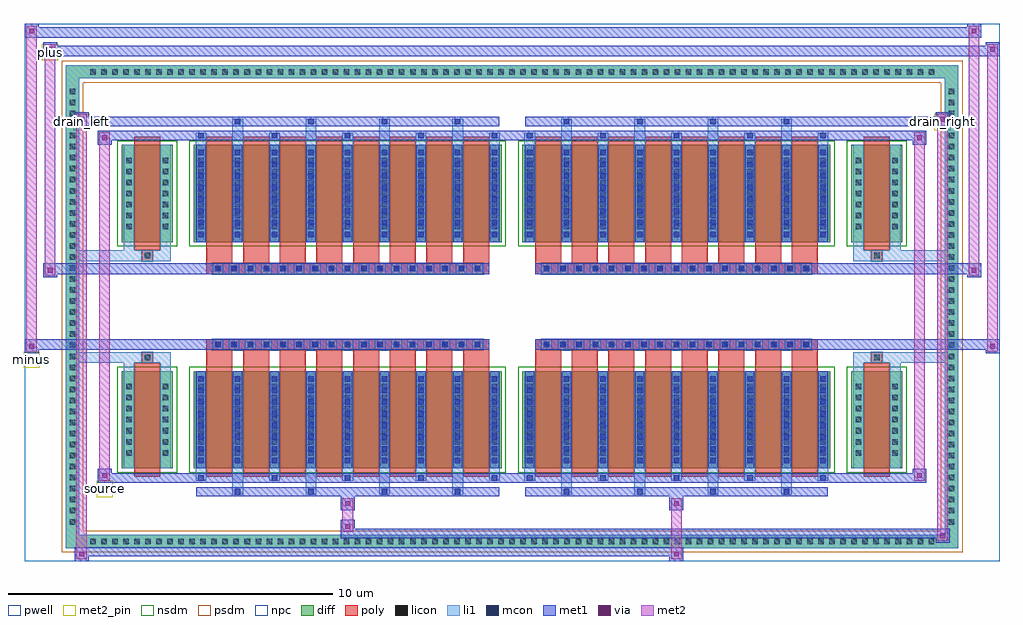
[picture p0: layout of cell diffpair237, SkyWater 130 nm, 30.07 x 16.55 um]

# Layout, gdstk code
import gdstk
lib = gdstk.Library(unit=1e-6, precision=5e-09)
def R(c, l, rs):  # rectangles x0, y0, x1, y1
    for r in rs: c.add(gdstk.rectangle(r[:2], r[2:], *l))
def A(c, l, x, y, w, h, nx, ny, dx, dy):  # array of equal rectangles
    R(c, l, [(x+i*dx, y+j*dy, x+i*dx+w, y+j*dy+h) for i in range(nx) for j in range(ny)])
def P(c, l, *ps):  # polygons
    for p in ps: c.add(gdstk.Polygon(p, *l))
pwell = (64, 44)
diff = (65, 20)
poly = (66, 20)
licon = (66, 44)
li1 = (67, 20)
mcon = (67, 44)
met1 = (68, 20)
via = (68, 44)
met2_pin = (69, 16)
met2 = (69, 20)
nsdm = (93, 44)
psdm = (94, 20)
npc = (95, 20)

diffpair237 = lib.new_cell('diffpair237')
R(diffpair237, pwell, [(-15.02,-7.84,15.02,8.71), (-12.34,-6.03,-0.01,-0.805), (0.01,-6.03,12.34,-0.805), (-12.34,0.805,-0.01,6.03), (0.01,0.805,12.34,6.03)])
A(diffpair237, diff, -13.125, -7.44, 0.41, 0.41, 77, 2, 0.34, 14.47)
A(diffpair237, diff, -13.75, -6.835, 0.41, 0.41, 1, 40, 0, 0.34)
A(diffpair237, diff, 13.34, -6.835, 0.41, 0.41, 1, 40, 0, 0.34)
R(diffpair237, diff, [(-13.125,-7.44,13.125,-7.03), (-13.75,-6.835,-13.34,6.835), (13.34,-6.835,13.75,6.835), (-12.03,-4.985,-10.45,-1.985), (-9.81,-4.985,-0.32,-1.985), (0.32,-4.985,9.81,-1.985), (10.45,-4.985,12.03,-1.985), (-12.03,1.985,-10.45,4.985), (-9.81,1.985,-0.32,4.985), (0.32,1.985,9.81,4.985), (10.45,1.985,12.03,4.985), (-13.125,7.03,13.125,7.44)])
P(diffpair237, diff, [(13.75,7.44),(-13.75,7.44),(-13.75,-7.03),(-13.34,-7.03),(-13.34,7.03),(13.34,7.03),(13.34,-7.03),(-13.34,-7.03),(-13.75,-7.03),(-13.75,-7.44),(13.75,-7.44)])
A(diffpair237, poly, -9.42, -5.235, 0.8, 3.5, 8, 2, 1.13, 6.97)
A(diffpair237, poly, 0.71, -5.235, 0.8, 3.5, 8, 2, 1.13, 6.97)
A(diffpair237, poly, -9.42, -1.735, 0.8, 0.4, 8, 2, 1.13, 3.07)
A(diffpair237, poly, 0.71, -1.735, 0.8, 0.4, 8, 2, 1.13, 3.07)
A(diffpair237, poly, -9.23, -1.335, 0.33, 0.33, 17, 2, 0.5, 2.34)
A(diffpair237, poly, 0.9, -1.335, 0.33, 0.33, 17, 2, 0.5, 2.34)
R(diffpair237, poly, [(-11.64,-5.235,-10.84,-1.735), (10.84,-5.235,11.64,-1.735), (-11.405,-1.735,-11.075,-1.405), (-11.405,-1.735,-11.075,-1.405), (11.075,-1.735,11.405,-1.405), (11.075,-1.735,11.405,-1.405), (-9.42,-1.335,-0.71,-1.005), (0.71,-1.335,9.42,-1.005), (-9.42,1.005,-0.71,1.335), (0.71,1.005,9.42,1.335), (-11.405,1.405,-11.075,1.735), (-11.405,1.405,-11.075,1.735), (11.075,1.405,11.405,1.735), (11.075,1.405,11.405,1.735), (-11.64,1.735,-10.84,5.235), (10.84,1.735,11.64,5.235)])
A(diffpair237, licon, -13.005, -7.32, 0.17, 0.17, 77, 2, 0.34, 14.47)
A(diffpair237, licon, -13.63, -6.715, 0.17, 0.17, 1, 40, 0, 0.34)
A(diffpair237, licon, 13.46, -6.715, 0.17, 0.17, 1, 40, 0, 0.34)
A(diffpair237, licon, -11.89, -4.59, 0.17, 0.17, 1, 7, 0, 0.34)
A(diffpair237, licon, -10.76, -4.59, 0.17, 0.17, 1, 7, 0, 0.34)
A(diffpair237, licon, -9.67, -4.59, 0.17, 0.17, 9, 7, 1.13, 0.34)
A(diffpair237, licon, 0.46, -4.59, 0.17, 0.17, 9, 7, 1.13, 0.34)
A(diffpair237, licon, 10.59, -4.59, 0.17, 0.17, 1, 7, 0, 0.34)
A(diffpair237, licon, 11.72, -4.59, 0.17, 0.17, 1, 7, 0, 0.34)
A(diffpair237, licon, -9.15, -1.255, 0.17, 0.17, 17, 2, 0.5, 2.34)
A(diffpair237, licon, 0.98, -1.255, 0.17, 0.17, 17, 2, 0.5, 2.34)
A(diffpair237, licon, -11.89, 2.38, 0.17, 0.17, 1, 7, 0, 0.34)
A(diffpair237, licon, -10.76, 2.38, 0.17, 0.17, 1, 7, 0, 0.34)
A(diffpair237, licon, -9.67, 2.38, 0.17, 0.17, 9, 7, 1.13, 0.34)
A(diffpair237, licon, 0.46, 2.38, 0.17, 0.17, 9, 7, 1.13, 0.34)
A(diffpair237, licon, 10.59, 2.38, 0.17, 0.17, 1, 7, 0, 0.34)
A(diffpair237, licon, 11.72, 2.38, 0.17, 0.17, 1, 7, 0, 0.34)
R(diffpair237, licon, [(-11.325,-1.655,-11.155,-1.485), (11.155,-1.655,11.325,-1.485), (-11.325,1.485,-11.155,1.655), (11.155,1.485,11.325,1.655)])
A(diffpair237, li1, -13.085, -7.4, 0.33, 0.33, 77, 2, 0.34, 14.47)
A(diffpair237, li1, -13.71, -6.795, 0.33, 0.33, 1, 40, 0, 0.34)
A(diffpair237, li1, 13.38, -6.795, 0.33, 0.33, 1, 40, 0, 0.34)
A(diffpair237, li1, -8.62, -5.79, 0.33, 0.805, 4, 2, 2.26, 10.775)
A(diffpair237, li1, -8.54, -5.79, 0.17, 0.17, 4, 2, 2.26, 11.41)
A(diffpair237, li1, 1.51, -5.79, 0.33, 0.805, 4, 2, 2.26, 10.775)
A(diffpair237, li1, 1.59, -5.79, 0.17, 0.17, 4, 2, 2.26, 11.41)
A(diffpair237, li1, -9.75, -5.36, 0.33, 0.375, 5, 2, 2.26, 10.345)
A(diffpair237, li1, -9.67, -5.36, 0.17, 0.17, 5, 2, 2.26, 10.55)
A(diffpair237, li1, 0.38, -5.36, 0.33, 0.375, 5, 2, 2.26, 10.345)
A(diffpair237, li1, 0.46, -5.36, 0.17, 0.17, 5, 2, 2.26, 10.55)
A(diffpair237, li1, -9.75, -4.985, 0.33, 3, 9, 2, 1.13, 6.97)
A(diffpair237, li1, 0.38, -4.985, 0.33, 3, 9, 2, 1.13, 6.97)
A(diffpair237, li1, -9.67, -4.83, 0.17, 0.17, 9, 8, 1.13, 0.36)
A(diffpair237, li1, -9.67, -4.83, 0.17, 2.69, 9, 2, 1.13, 6.97)
A(diffpair237, li1, 0.46, -4.83, 0.17, 0.17, 9, 8, 1.13, 0.36)
A(diffpair237, li1, 0.46, -4.83, 0.17, 2.69, 9, 2, 1.13, 6.97)
A(diffpair237, li1, -11.97, -4.67, 0.33, 0.33, 1, 7, 0, 0.34)
A(diffpair237, li1, -10.84, -4.67, 0.33, 0.33, 1, 7, 0, 0.34)
A(diffpair237, li1, -9.75, -4.67, 0.33, 0.33, 9, 7, 1.13, 0.34)
A(diffpair237, li1, 0.38, -4.67, 0.33, 0.33, 9, 7, 1.13, 0.34)
A(diffpair237, li1, 10.51, -4.67, 0.33, 0.33, 1, 7, 0, 0.34)
A(diffpair237, li1, 11.64, -4.67, 0.33, 0.33, 1, 7, 0, 0.34)
A(diffpair237, li1, -9.23, -1.335, 0.33, 0.33, 17, 2, 0.5, 2.34)
A(diffpair237, li1, 0.9, -1.335, 0.33, 0.33, 17, 2, 0.5, 2.34)
A(diffpair237, li1, -9.67, 2.14, 0.17, 0.17, 9, 8, 1.13, 0.36)
A(diffpair237, li1, 0.46, 2.14, 0.17, 0.17, 9, 8, 1.13, 0.36)
A(diffpair237, li1, -11.97, 2.3, 0.33, 0.33, 1, 7, 0, 0.34)
A(diffpair237, li1, -10.84, 2.3, 0.33, 0.33, 1, 7, 0, 0.34)
A(diffpair237, li1, -9.75, 2.3, 0.33, 0.33, 9, 7, 1.13, 0.34)
A(diffpair237, li1, 0.38, 2.3, 0.33, 0.33, 9, 7, 1.13, 0.34)
A(diffpair237, li1, 10.51, 2.3, 0.33, 0.33, 1, 7, 0, 0.34)
A(diffpair237, li1, 11.64, 2.3, 0.33, 0.33, 1, 7, 0, 0.34)
R(diffpair237, li1, [(-13.75,-7.44,-13.34,-7.03), (-13.75,-7.44,-13.34,-7.03), (-13.34,-7.44,13.34,-7.03), (13.34,-7.44,13.75,-7.03), (13.34,-7.44,13.75,-7.03), (-13.75,-7.03,-13.34,7.03), (13.34,-7.03,13.75,7.03), (-11.97,-4.985,-11.64,-1.985), (-10.84,-4.985,-10.51,-1.985), (10.51,-4.985,10.84,-1.985), (11.64,-4.985,11.97,-1.985), (-11.97,-1.985,-11.64,-1.405), (-10.84,-1.985,-10.51,-1.405), (10.51,-1.985,10.84,-1.405), (11.64,-1.985,11.97,-1.405), (-13.75,-1.735,-11.405,-1.405), (-11.97,-1.735,-11.405,-1.405), (-11.405,-1.735,-11.075,-1.405), (-11.075,-1.735,-10.51,-1.405), (10.51,-1.735,11.075,-1.405), (11.075,-1.735,11.405,-1.405), (11.075,-1.735,13.75,-1.405), (11.405,-1.735,11.97,-1.405), (-13.75,1.405,-11.405,1.735), (-11.97,1.405,-11.405,1.735), (-11.97,1.405,-11.64,1.985), (-11.405,1.405,-11.075,1.735), (-11.075,1.405,-10.51,1.735), (-10.84,1.405,-10.51,1.985), (10.51,1.405,11.075,1.735), (10.51,1.405,10.84,1.985), (11.075,1.405,11.405,1.735), (11.075,1.405,13.75,1.735), (11.405,1.405,11.97,1.735), (11.64,1.405,11.97,1.985), (-11.97,1.985,-11.64,4.985), (-10.84,1.985,-10.51,4.985), (10.51,1.985,10.84,4.985), (11.64,1.985,11.97,4.985), (-13.75,7.03,-13.34,7.44), (-13.75,7.03,-13.34,7.44), (-13.34,7.03,13.34,7.44), (13.34,7.03,13.75,7.44), (13.34,7.03,13.75,7.44)])
A(diffpair237, mcon, -8.54, -5.79, 0.17, 0.17, 4, 2, 2.26, 11.41)
A(diffpair237, mcon, 1.59, -5.79, 0.17, 0.17, 4, 2, 2.26, 11.41)
A(diffpair237, mcon, -9.67, -5.36, 0.17, 0.17, 5, 2, 2.26, 10.55)
A(diffpair237, mcon, 0.46, -5.36, 0.17, 0.17, 5, 2, 2.26, 10.55)
A(diffpair237, mcon, -9.67, -4.83, 0.17, 0.17, 9, 8, 1.13, 0.36)
A(diffpair237, mcon, 0.46, -4.83, 0.17, 0.17, 9, 8, 1.13, 0.36)
A(diffpair237, mcon, -9.15, -1.255, 0.17, 0.17, 17, 2, 0.5, 2.34)
A(diffpair237, mcon, 0.98, -1.255, 0.17, 0.17, 17, 2, 0.5, 2.34)
A(diffpair237, mcon, -9.67, 2.14, 0.17, 0.17, 9, 8, 1.13, 0.36)
A(diffpair237, mcon, 0.46, 2.14, 0.17, 0.17, 9, 8, 1.13, 0.36)
A(diffpair237, met1, -8.6, -5.85, 0.29, 0.29, 4, 2, 2.26, 11.41)
A(diffpair237, met1, 1.53, -5.85, 0.29, 0.29, 4, 2, 2.26, 11.41)
A(diffpair237, met1, -9.73, -5.42, 0.29, 0.29, 5, 2, 2.26, 10.55)
A(diffpair237, met1, 0.4, -5.42, 0.29, 0.29, 5, 2, 2.26, 10.55)
A(diffpair237, met1, -9.73, -4.985, 0.29, 3, 9, 2, 1.13, 6.97)
A(diffpair237, met1, 0.4, -4.985, 0.29, 3, 9, 2, 1.13, 6.97)
A(diffpair237, met1, -9.73, -4.89, 0.29, 0.29, 9, 8, 1.13, 0.36)
A(diffpair237, met1, 0.4, -4.89, 0.29, 0.29, 9, 8, 1.13, 0.36)
A(diffpair237, met1, -9.21, -1.315, 0.29, 0.29, 17, 2, 0.5, 2.34)
A(diffpair237, met1, 0.92, -1.315, 0.29, 0.29, 17, 2, 0.5, 2.34)
A(diffpair237, met1, -9.73, 2.08, 0.29, 0.29, 9, 8, 1.13, 0.36)
A(diffpair237, met1, 0.4, 2.08, 0.29, 0.29, 9, 8, 1.13, 0.36)
R(diffpair237, met1, [(-13.48,-7.84,-13.05,-7.41), (4.85,-7.84,5.28,-7.41), (-13.48,-7.7,5.28,-7.41), (13.05,-7.27,13.48,-6.84), (-5.28,-7.13,13.48,-6.84), (-5.28,-6.99,-4.85,-6.56), (-5.28,-6.28,-4.85,-5.85), (4.85,-6.28,5.28,-5.85), (-9.73,-5.85,-0.4,-5.56), (0.4,-5.85,9.73,-5.56), (-12.77,-5.42,-12.34,-4.99), (-12.77,-5.42,-9.73,-5.13), (-9.73,-5.42,-0.4,-5.13), (-0.4,-5.42,0.4,-5.13), (0.4,-5.42,9.73,-5.13), (9.73,-5.42,12.77,-5.13), (12.34,-5.42,12.77,-4.99), (-15.02,-1.435,-14.59,-1.005), (14.59,-1.435,15.02,-1.005), (-15.02,-1.335,-0.71,-1.005), (-9.42,-1.335,-0.71,-1.005), (0.71,-1.335,9.42,-1.005), (0.71,-1.335,15.02,-1.005), (-14.45,0.905,-14.02,1.335), (14.02,0.905,14.45,1.335), (-14.45,1.005,-9.42,1.335), (-9.42,1.005,-0.71,1.335), (0.71,1.005,9.42,1.335), (9.42,1.005,14.45,1.335), (-12.77,4.99,-12.34,5.42), (12.34,4.99,12.77,5.42), (-12.77,5.13,-9.73,5.42), (-9.73,5.13,-0.4,5.42), (-0.4,5.13,0.4,5.42), (0.4,5.13,9.73,5.42), (9.73,5.13,12.77,5.42), (-13.48,5.56,-13.05,5.99), (-13.48,5.56,-9.73,5.85), (-9.73,5.56,-0.4,5.85), (0.4,5.56,9.73,5.85), (9.73,5.56,13.48,5.85), (13.05,5.56,13.48,5.99), (-14.45,7.71,-14.02,8.14), (-14.45,7.71,-12.34,8.04), (-12.34,7.71,12.34,8.04), (12.34,7.71,15.02,8.04), (14.59,7.71,15.02,8.14), (-15.02,8.28,-14.59,8.71), (-15.02,8.28,-12.34,8.61), (-12.34,8.28,12.34,8.61), (12.34,8.28,14.45,8.61), (14.02,8.28,14.45,8.71)])
R(diffpair237, via, [(-13.34,-7.7,-13.19,-7.55), (4.99,-7.7,5.14,-7.55), (13.19,-7.13,13.34,-6.98), (-5.14,-6.85,-4.99,-6.7), (-5.14,-6.14,-4.99,-5.99), (4.99,-6.14,5.14,-5.99), (-12.63,-5.28,-12.48,-5.13), (12.48,-5.28,12.63,-5.13), (-14.88,-1.295,-14.73,-1.145), (14.73,-1.295,14.88,-1.145), (-14.31,1.045,-14.16,1.195), (14.16,1.045,14.31,1.195), (-12.63,5.13,-12.48,5.28), (12.48,5.13,12.63,5.28), (-13.34,5.7,-13.19,5.85), (13.19,5.7,13.34,5.85), (-14.31,7.85,-14.16,8), (14.73,7.85,14.88,8), (-14.88,8.42,-14.73,8.57), (14.16,8.42,14.31,8.57)])
R(diffpair237, met2_pin, [(-12.805,-5.87,-12.305,-5.37), (-15.055,-1.885,-14.555,-1.385), (-13.515,5.44,-13.015,5.94), (13.015,5.44,13.515,5.94), (-14.485,7.59,-13.985,8.09)])
R(diffpair237, met2, [(-13.43,-7.79,-13.1,-7.46), (-13.43,-7.79,-13.1,5.94), (4.9,-7.79,5.23,-7.46), (4.9,-7.46,5.23,-6.23), (13.1,-7.22,13.43,-6.89), (13.1,-7.22,13.43,5.94), (-5.23,-6.94,-4.9,-6.61), (-5.23,-6.61,-4.9,-6.23), (-5.23,-6.23,-4.9,-5.9), (4.9,-6.23,5.23,-5.9), (-12.72,-5.37,-12.39,-5.04), (-12.72,-5.37,-12.39,5.37), (12.39,-5.37,12.72,-5.04), (12.39,-5.37,12.72,5.37), (-14.97,-1.385,-14.64,-1.055), (-14.97,-1.385,-14.64,8.66), (14.64,-1.385,14.97,-1.055), (14.64,-1.385,14.97,8.09), (-14.4,0.955,-14.07,1.285), (-14.4,0.955,-14.07,8.09), (14.07,0.955,14.4,1.285), (14.07,0.955,14.4,8.66), (-12.72,5.04,-12.39,5.37), (12.39,5.04,12.72,5.37), (-13.43,5.61,-13.1,5.94), (13.1,5.61,13.43,5.94), (-14.4,7.76,-14.07,8.09), (14.64,7.76,14.97,8.09), (-14.97,8.33,-14.64,8.66), (14.07,8.33,14.4,8.66)])
P(diffpair237, met2, [(14.97,-1.385),(14.97,-1.385),(14.97,-1.055),(14.97,-1.055)],
  [(14.97,7.76),(14.97,7.76),(14.97,8.09),(14.97,8.09)],
  [(-14.64,-1.385),(-14.64,-1.385),(-14.64,-1.055),(-14.64,-1.055)],
  [(-14.64,8.33),(-14.64,8.33),(-14.64,8.66),(-14.64,8.66)],
  [(14.4,0.955),(14.4,0.955),(14.4,1.285),(14.4,1.285)],
  [(14.4,8.33),(14.4,8.33),(14.4,8.66),(14.4,8.66)],
  [(-14.07,0.955),(-14.07,0.955),(-14.07,1.285),(-14.07,1.285)],
  [(-14.07,7.76),(-14.07,7.76),(-14.07,8.09),(-14.07,8.09)],
  [(-13.1,-7.79),(-13.1,-7.79),(-13.1,-7.46),(-13.1,-7.46)],
  [(-13.1,5.61),(-13.1,5.61),(-13.1,5.94),(-13.1,5.94)],
  [(13.43,-7.22),(13.43,-7.22),(13.43,-6.89),(13.43,-6.89)],
  [(13.43,5.61),(13.43,5.61),(13.43,5.94),(13.43,5.94)],
  [(-12.39,-5.37),(-12.39,-5.37),(-12.39,-5.04),(-12.39,-5.04)],
  [(-12.39,5.04),(-12.39,5.04),(-12.39,5.37),(-12.39,5.37)],
  [(12.72,-5.37),(12.72,-5.37),(12.72,-5.04),(12.72,-5.04)],
  [(12.72,5.04),(12.72,5.04),(12.72,5.37),(12.72,5.37)])
R(diffpair237, nsdm, [(-12.16,-5.115,-10.32,-1.855), (-9.94,-5.115,-0.19,-1.855), (0.19,-5.115,9.94,-1.855), (10.32,-5.115,12.16,-1.855), (-12.16,1.855,-10.32,5.115), (-9.94,1.855,-0.19,5.115), (0.19,1.855,9.94,5.115), (10.32,1.855,12.16,5.115)])
P(diffpair237, psdm, [(13.88,7.57),(-13.88,7.57),(-13.88,-6.9),(-13.21,-6.9),(-13.21,6.9),(13.21,6.9),(13.21,-6.9),(-13.21,-6.9),(-13.88,-6.9),(-13.88,-7.57),(13.88,-7.57)])
A(diffpair237, npc, -9.25, -1.355, 0.37, 0.37, 17, 2, 0.5, 2.34)
A(diffpair237, npc, 0.88, -1.355, 0.37, 0.37, 17, 2, 0.5, 2.34)
R(diffpair237, npc, [(-11.425,-1.755,-11.055,-1.385), (11.055,-1.755,11.425,-1.385), (-9.25,-1.355,-8.38,-0.985), (-9.25,-1.355,-8.38,-0.985), (-8.75,-1.355,-7.88,-0.985), (-8.75,-1.355,-7.88,-0.985), (-8.25,-1.355,-7.38,-0.985), (-8.25,-1.355,-7.38,-0.985), (-7.75,-1.355,-6.88,-0.985), (-7.75,-1.355,-6.88,-0.985), (-7.25,-1.355,-6.38,-0.985), (-7.25,-1.355,-6.38,-0.985), (-6.75,-1.355,-5.88,-0.985), (-6.75,-1.355,-5.88,-0.985), (-6.25,-1.355,-5.38,-0.985), (-6.25,-1.355,-5.38,-0.985), (-5.75,-1.355,-4.88,-0.985), (-5.75,-1.355,-4.88,-0.985), (-5.25,-1.355,-4.38,-0.985), (-5.25,-1.355,-4.38,-0.985), (-4.75,-1.355,-3.88,-0.985), (-4.75,-1.355,-3.88,-0.985), (-4.25,-1.355,-3.38,-0.985), (-4.25,-1.355,-3.38,-0.985), (-3.75,-1.355,-2.88,-0.985), (-3.75,-1.355,-2.88,-0.985), (-3.25,-1.355,-2.38,-0.985), (-3.25,-1.355,-2.38,-0.985), (-2.75,-1.355,-1.88,-0.985), (-2.75,-1.355,-1.88,-0.985), (-2.25,-1.355,-1.38,-0.985), (-2.25,-1.355,-1.38,-0.985), (-1.75,-1.355,-0.88,-0.985), (-1.75,-1.355,-0.88,-0.985), (0.88,-1.355,1.75,-0.985), (0.88,-1.355,1.75,-0.985), (1.38,-1.355,2.25,-0.985), (1.38,-1.355,2.25,-0.985), (1.88,-1.355,2.75,-0.985), (1.88,-1.355,2.75,-0.985), (2.38,-1.355,3.25,-0.985), (2.38,-1.355,3.25,-0.985), (2.88,-1.355,3.75,-0.985), (2.88,-1.355,3.75,-0.985), (3.38,-1.355,4.25,-0.985), (3.38,-1.355,4.25,-0.985), (3.88,-1.355,4.75,-0.985), (3.88,-1.355,4.75,-0.985), (4.38,-1.355,5.25,-0.985), (4.38,-1.355,5.25,-0.985), (4.88,-1.355,5.75,-0.985), (4.88,-1.355,5.75,-0.985), (5.38,-1.355,6.25,-0.985), (5.38,-1.355,6.25,-0.985), (5.88,-1.355,6.75,-0.985), (5.88,-1.355,6.75,-0.985), (6.38,-1.355,7.25,-0.985), (6.38,-1.355,7.25,-0.985), (6.88,-1.355,7.75,-0.985), (6.88,-1.355,7.75,-0.985), (7.38,-1.355,8.25,-0.985), (7.38,-1.355,8.25,-0.985), (7.88,-1.355,8.75,-0.985), (7.88,-1.355,8.75,-0.985), (8.38,-1.355,9.25,-0.985), (8.38,-1.355,9.25,-0.985), (-9.25,0.985,-8.38,1.355), (-9.25,0.985,-8.38,1.355), (-8.75,0.985,-7.88,1.355), (-8.75,0.985,-7.88,1.355), (-8.25,0.985,-7.38,1.355), (-8.25,0.985,-7.38,1.355), (-7.75,0.985,-6.88,1.355), (-7.75,0.985,-6.88,1.355), (-7.25,0.985,-6.38,1.355), (-7.25,0.985,-6.38,1.355), (-6.75,0.985,-5.88,1.355), (-6.75,0.985,-5.88,1.355), (-6.25,0.985,-5.38,1.355), (-6.25,0.985,-5.38,1.355), (-5.75,0.985,-4.88,1.355), (-5.75,0.985,-4.88,1.355), (-5.25,0.985,-4.38,1.355), (-5.25,0.985,-4.38,1.355), (-4.75,0.985,-3.88,1.355), (-4.75,0.985,-3.88,1.355), (-4.25,0.985,-3.38,1.355), (-4.25,0.985,-3.38,1.355), (-3.75,0.985,-2.88,1.355), (-3.75,0.985,-2.88,1.355), (-3.25,0.985,-2.38,1.355), (-3.25,0.985,-2.38,1.355), (-2.75,0.985,-1.88,1.355), (-2.75,0.985,-1.88,1.355), (-2.25,0.985,-1.38,1.355), (-2.25,0.985,-1.38,1.355), (-1.75,0.985,-0.88,1.355), (-1.75,0.985,-0.88,1.355), (0.88,0.985,1.75,1.355), (0.88,0.985,1.75,1.355), (1.38,0.985,2.25,1.355), (1.38,0.985,2.25,1.355), (1.88,0.985,2.75,1.355), (1.88,0.985,2.75,1.355), (2.38,0.985,3.25,1.355), (2.38,0.985,3.25,1.355), (2.88,0.985,3.75,1.355), (2.88,0.985,3.75,1.355), (3.38,0.985,4.25,1.355), (3.38,0.985,4.25,1.355), (3.88,0.985,4.75,1.355), (3.88,0.985,4.75,1.355), (4.38,0.985,5.25,1.355), (4.38,0.985,5.25,1.355), (4.88,0.985,5.75,1.355), (4.88,0.985,5.75,1.355), (5.38,0.985,6.25,1.355), (5.38,0.985,6.25,1.355), (5.88,0.985,6.75,1.355), (5.88,0.985,6.75,1.355), (6.38,0.985,7.25,1.355), (6.38,0.985,7.25,1.355), (6.88,0.985,7.75,1.355), (6.88,0.985,7.75,1.355), (7.38,0.985,8.25,1.355), (7.38,0.985,8.25,1.355), (7.88,0.985,8.75,1.355), (7.88,0.985,8.75,1.355), (8.38,0.985,9.25,1.355), (8.38,0.985,9.25,1.355), (-11.425,1.385,-11.055,1.755), (11.055,1.385,11.425,1.755)])
diffpair237.add(gdstk.Label('minus', (-14.805,-1.635), layer=69, texttype=5))
diffpair237.add(gdstk.Label('drain_right', (13.265,5.69), layer=69, texttype=5))
diffpair237.add(gdstk.Label('drain_left', (-13.265,5.69), layer=69, texttype=5))
diffpair237.add(gdstk.Label('source', (-12.555,-5.62), layer=69, texttype=5))
diffpair237.add(gdstk.Label('plus', (-14.235,7.84), layer=69, texttype=5))

lib.write_gds('diffpair237.gds')
